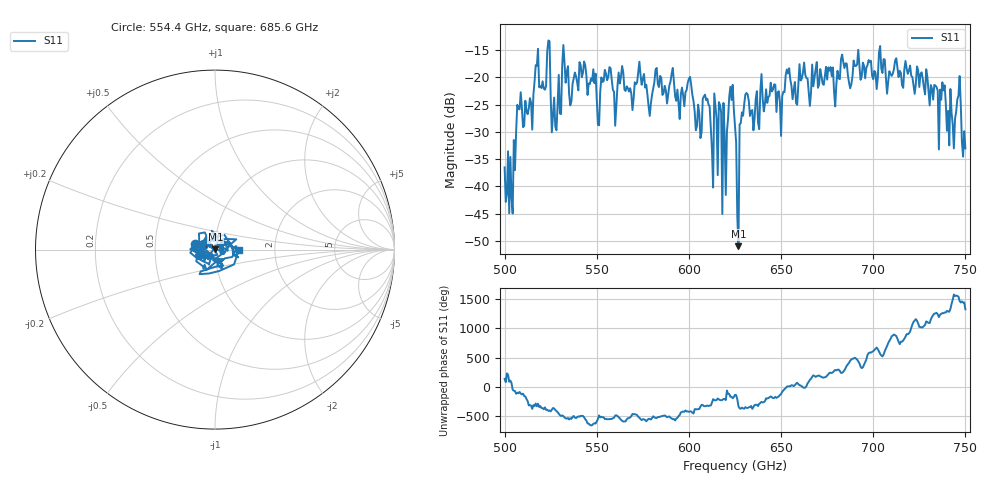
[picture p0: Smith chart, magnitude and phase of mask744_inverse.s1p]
!Created with skrf (http://scikit-rf.org).
# GHz S MA R 50.0
!freq magS11 angS11
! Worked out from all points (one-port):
!   401 points, 500 GHz to 750 GHz, reference 50 ohm
!   lowest |S11| = -51.0 dB at 626.9 GHz (marker M1), VSWR 1.01, Z = 50.3 + j0.117 ohm
!   |S11| at or under -10 dB: start of sweep to end of sweep
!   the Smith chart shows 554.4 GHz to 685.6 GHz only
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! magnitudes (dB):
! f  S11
! 500 GHz  -36.5
! 503.8 GHz  -42.1
! 507.5 GHz  -25.8
! 513.8 GHz  -23.8
! 516.9 GHz  -17.8
! 523.8 GHz  -13.3
! 526.9 GHz  -23.7
! 531.2 GHz  -17.8
! 542.5 GHz  -19.2
! 551.2 GHz  -28.8
! 562.5 GHz  -21.2
! 593.8 GHz  -22.3
! 600.6 GHz  -19.9
! 605.6 GHz  -26.6
! 609.4 GHz  -24.2
! 619.4 GHz  -30.6
! 623.1 GHz  -24.2
! 625 GHz  -29.0
! 626.9 GHz  -51.0
! 628.8 GHz  -26.4
! 631.2 GHz  -22.9
! 656.2 GHz  -24.0
! 687.5 GHz  -22.0
! 718.8 GHz  -19.4
! 737.5 GHz  -20.9
! 742.5 GHz  -26.6
! 746.2 GHz  -23.4
! 750 GHz  -33.0
